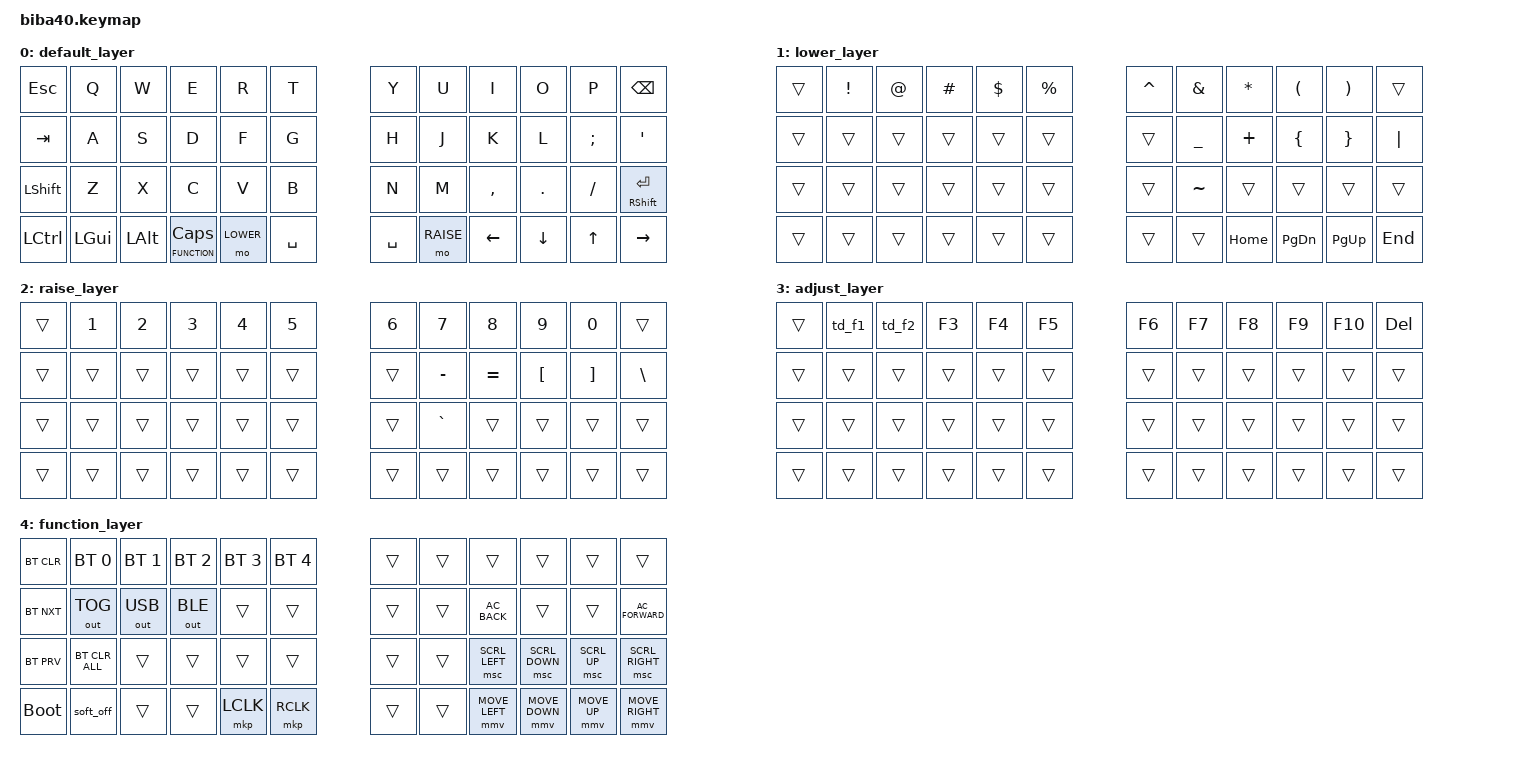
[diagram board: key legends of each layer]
/*
 * Copyright (c) 2020 The ZMK Contributors
 * BIBA2026
 * SPDX-License-Identifier: MIT
 */

#include <behaviors/mouse_keys.dtsi>
#include <behaviors.dtsi>
#include <dt-bindings/zmk/bt.h>
#include <dt-bindings/zmk/keys.h>
#include <dt-bindings/zmk/outputs.h>

// Increased max speed definitions for a snappier feel
#define ZMK_POINTING_DEFAULT_MOVE_VAL 1500
#define ZMK_POINTING_DEFAULT_SCRL_VAL 25
#include <dt-bindings/zmk/pointing.h>

#define DEFAULT 0
#define LOWER  1
#define RAISE  2
#define ADJUST 3
#define FUNCTION 4

/* NOTE: At the time of the creation of this keymap, there are no specified codes for 'eisuu' and 'kana' input in ZMK.
However, 'LANG1' and 'LANG2' are fully-functioning candidates for 'kana' and 'eisuu' input respectively.
As such, those are in use within the default layer at this time.*/


&soft_off {
    hold-time-ms = <2000>; // Only turn off if the key is held for 3 seconds or longer.
};

// original 900/1 for mouse, 700/1 for scroll
&mmv {
    time-to-max-speed-ms = <400>;  // Snappy: reaches max speed quickly
    acceleration-exponent = <1>;   // Linear curve for predictable movement
};

&msc {
    time-to-max-speed-ms = <250>;  // Snappy scroll
    acceleration-exponent = <1>;
};

 / {
    behaviors {
        td_f1: tap_dance_f1 {
            compatible = "zmk,behavior-tap-dance";
            #binding-cells = <0>;
            tapping-term-ms = <200>;
            bindings = <&kp F1>, <&kp F11>;
        };
        td_f2: tap_dance_f2 {
            compatible = "zmk,behavior-tap-dance";
            #binding-cells = <0>;
            tapping-term-ms = <200>;
            bindings = <&kp F2>, <&kp F12>;
        };
    };

    conditional_layers {
        compatible = "zmk,conditional-layers";
        tri_layer {
            if-layers = <LOWER RAISE>;
            then-layer = <ADJUST>;
        };
    };

    keymap {
        compatible = "zmk,keymap";

        default_layer {
            bindings = <
&kp ESC       &kp Q      &kp W     &kp E             &kp R      &kp T                &kp Y       &kp U      &kp I      &kp O       &kp P     &kp BSPC
&kp TAB       &kp A      &kp S     &kp D             &kp F      &kp G                &kp H       &kp J      &kp K      &kp L       &kp SEMI  &kp SQT
&kp LSHFT     &kp Z      &kp X     &kp C             &kp V      &kp B                &kp N       &kp M      &kp COMMA  &kp PERIOD  &kp SLASH &mt RSHFT ENTER
&kp LCTRL     &kp LGUI   &kp LALT  &lt FUNCTION CAPS &mo LOWER  &kp SPACE            &kp SPACE   &mo RAISE  &kp LEFT   &kp DOWN    &kp UP    &kp RIGHT
            >;
        };

        lower_layer {
            bindings = <
&trans     &kp EXCL  &kp AT    &kp HASH   &kp DLLR     &kp PRCNT                     &kp CARET  &kp AMPS        &kp ASTRK  &kp LPAR  &kp RPAR  &trans
&trans     &trans    &trans    &trans     &trans       &trans                        &trans     &kp UNDERSCORE  &kp PLUS   &kp LBRC  &kp RBRC  &kp PIPE
&trans     &trans    &trans    &trans     &trans       &trans                        &trans     &kp TILDE       &trans     &trans    &trans    &trans
&trans     &trans    &trans    &trans     &trans       &trans                        &trans     &trans          &kp HOME   &kp PG_DN &kp PG_UP &kp END
            >;
        };

        raise_layer {
            bindings = <
&trans  &kp N1  &kp N2  &kp N3  &kp N4  &kp N5                                       &kp N6  &kp N7     &kp N8     &kp N9    &kp N0    &trans
&trans  &trans  &trans  &trans  &trans  &trans                                       &trans  &kp MINUS  &kp EQUAL  &kp LBKT  &kp RBKT  &kp BSLH
&trans  &trans  &trans  &trans  &trans  &trans                                       &trans  &kp GRAVE  &trans     &trans    &trans    &trans
&trans  &trans  &trans  &trans  &trans  &trans                                       &trans  &trans     &trans     &trans    &trans    &trans
            >;
        };

        adjust_layer {
            bindings = <
&trans      &td_f1          &td_f2        &kp F3        &kp F4        &kp F5         &kp F6        &kp F7        &kp F8        &kp F9        &kp F10       &kp DEL
&trans      &trans          &trans        &trans        &trans        &trans         &trans        &trans        &trans        &trans        &trans        &trans
&trans      &trans          &trans        &trans        &trans        &trans         &trans        &trans        &trans        &trans        &trans        &trans
&trans      &trans          &trans        &trans        &trans        &trans         &trans        &trans        &trans        &trans        &trans        &trans
            >;
        };

        function_layer {
            bindings = <
&bt BT_CLR  &bt BT_SEL 0    &bt BT_SEL 1  &bt BT_SEL 2  &bt BT_SEL 3  &bt BT_SEL 4   &trans    &trans    &trans          &trans          &trans           &trans
&bt BT_NXT  &out OUT_TOG    &out OUT_USB  &out OUT_BLE  &trans        &trans         &trans    &trans    &kp C_AC_BACK   &trans          &trans           &kp C_AC_FORWARD
&bt BT_PRV  &bt BT_CLR_ALL  &trans        &trans        &trans        &trans         &trans    &trans    &msc SCRL_LEFT  &msc SCRL_DOWN  &msc SCRL_UP     &msc SCRL_RIGHT
&bootloader &soft_off       &trans        &trans        &mkp LCLK     &mkp RCLK      &trans    &trans    &mmv MOVE_LEFT  &mmv MOVE_DOWN  &mmv MOVE_UP     &mmv MOVE_RIGHT
            >;
        };
    };
};
